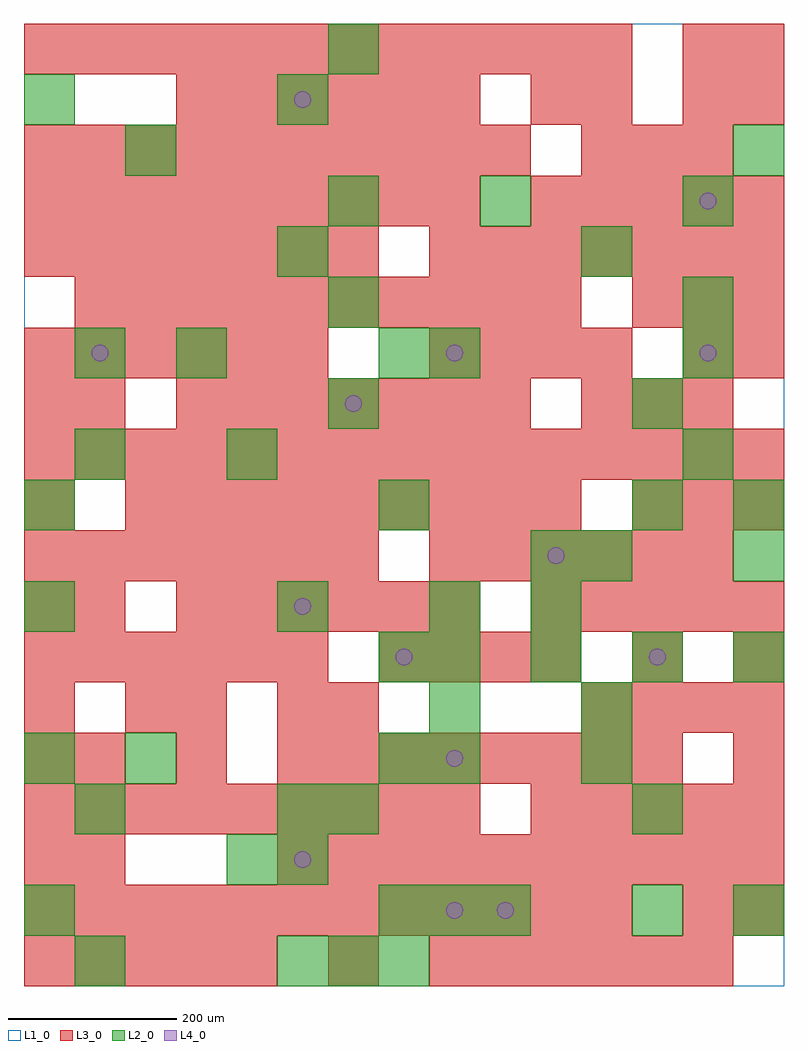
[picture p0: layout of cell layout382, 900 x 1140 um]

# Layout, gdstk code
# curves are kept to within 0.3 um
import gdstk
lib = gdstk.Library(unit=1e-6, precision=1e-09)
def R(c, l, rs):  # rectangles x0, y0, x1, y1
    for r in rs: c.add(gdstk.rectangle(r[:2], r[2:], *l))
def A(c, l, x, y, w, h, nx, ny, dx, dy):  # array of equal rectangles
    R(c, l, [(x+i*dx, y+j*dy, x+i*dx+w, y+j*dy+h) for i in range(nx) for j in range(ny)])
def P(c, l, *ps):  # polygons
    for p in ps: c.add(gdstk.Polygon(p, *l))
L1_0 = (1, 0)
L2_0 = (2, 0)
L3_0 = (3, 0)
L4_0 = (4, 0)

layout382 = lib.new_cell('layout382')
R(layout382, L1_0, [(0,0,900,1140)])
A(layout382, L2_0, 300, 0, 60, 60, 3, 1, 60, 0)
A(layout382, L2_0, 0, 60, 60, 60, 1, 3, 0, 180)
A(layout382, L2_0, 420, 60, 60, 60, 3, 1, 60, 0)
A(layout382, L2_0, 420, 360, 60, 60, 1, 3, 0, 180)
A(layout382, L2_0, 480, 360, 60, 60, 4, 1, 120, 0)
A(layout382, L2_0, 360, 660, 60, 60, 1, 3, 0, 120)
R(layout382, L2_0, [(60,0,120,60), (720,60,780,120), (840,60,900,120), (240,120,300,180), (300,120,360,180), (60,180,120,240), (300,180,360,240), (360,180,420,240), (720,180,780,240), (120,240,180,300), (420,240,480,300), (480,240,540,300), (660,240,720,300), (480,300,540,360), (660,300,720,360), (300,420,360,480), (480,420,540,480), (600,420,660,480), (600,480,660,540), (660,480,720,540), (840,480,900,540), (0,540,60,600), (720,540,780,600), (840,540,900,600), (60,600,120,660), (240,600,300,660), (780,600,840,660), (720,660,780,720), (60,720,120,780), (180,720,240,780), (480,720,540,780), (780,720,840,780), (780,780,840,840), (300,840,360,900), (660,840,720,900), (540,900,600,960), (780,900,840,960), (120,960,180,1020), (840,960,900,1020), (0,1020,60,1080), (300,1020,360,1080), (360,1080,420,1140)])
A(layout382, L3_0, 0, 0, 60, 60, 5, 1, 60, 0)
A(layout382, L3_0, 480, 0, 60, 60, 6, 2, 60, 480)
A(layout382, L3_0, 0, 60, 60, 60, 12, 2, 60, 1020)
A(layout382, L3_0, 300, 120, 60, 60, 10, 1, 60, 0)
A(layout382, L3_0, 0, 180, 60, 60, 9, 2, 60, 720)
A(layout382, L3_0, 600, 180, 60, 60, 5, 2, 60, 240)
A(layout382, L3_0, 60, 240, 60, 60, 3, 1, 120, 0)
A(layout382, L3_0, 360, 240, 60, 60, 7, 1, 60, 0)
A(layout382, L3_0, 0, 300, 60, 60, 1, 4, 0, 120)
A(layout382, L3_0, 660, 300, 60, 60, 4, 1, 60, 0)
A(layout382, L3_0, 0, 360, 60, 60, 6, 2, 60, 360)
A(layout382, L3_0, 420, 360, 60, 60, 4, 1, 60, 0)
A(layout382, L3_0, 180, 420, 60, 60, 6, 2, 60, 600)
A(layout382, L3_0, 0, 480, 60, 60, 7, 2, 60, 360)
A(layout382, L3_0, 120, 540, 60, 60, 9, 1, 60, 0)
A(layout382, L3_0, 720, 540, 60, 60, 3, 2, 60, 240)
A(layout382, L3_0, 0, 600, 60, 60, 15, 1, 60, 0)
A(layout382, L3_0, 180, 660, 60, 60, 7, 1, 60, 0)
A(layout382, L3_0, 660, 660, 60, 60, 3, 2, 60, 300)
A(layout382, L3_0, 480, 720, 60, 60, 4, 1, 60, 0)
A(layout382, L3_0, 60, 780, 60, 60, 10, 1, 60, 0)
A(layout382, L3_0, 480, 840, 60, 60, 7, 1, 60, 0)
A(layout382, L3_0, 600, 900, 60, 60, 5, 1, 60, 0)
A(layout382, L3_0, 0, 960, 60, 60, 10, 1, 60, 0)
R(layout382, L3_0, [(360,0,420,60), (780,60,840,120), (840,60,900,120), (0,120,60,180), (60,120,120,180), (0,240,60,300), (840,240,900,300), (120,300,180,360), (180,300,240,360), (300,300,360,360), (360,300,420,360), (720,360,780,420), (840,360,900,420), (60,420,120,480), (60,660,120,720), (780,720,840,780), (840,720,900,780), (600,1020,660,1080), (660,1020,720,1080), (780,1020,840,1080), (840,1020,900,1080), (780,1080,840,1140), (840,1080,900,1140)])
P(layout382, L4_0, [(100,750),(99.239,753.827),(97.071,757.071),(93.827,759.239),(90,760),(86.173,759.239),(82.929,757.071),(80.761,753.827),(80,750),(80.761,746.173),(82.929,742.929),(86.173,740.761),(90,740),(93.827,740.761),(97.071,742.929),(99.239,746.173)],
  [(340,150),(339.239,153.827),(337.071,157.071),(333.827,159.239),(330,160),(326.173,159.239),(322.929,157.071),(320.761,153.827),(320,150),(320.761,146.173),(322.929,142.929),(326.173,140.761),(330,140),(333.827,140.761),(337.071,142.929),(339.239,146.173)],
  [(340,450),(339.239,453.827),(337.071,457.071),(333.827,459.239),(330,460),(326.173,459.239),(322.929,457.071),(320.761,453.827),(320,450),(320.761,446.173),(322.929,442.929),(326.173,440.761),(330,440),(333.827,440.761),(337.071,442.929),(339.239,446.173)],
  [(340,1050),(339.239,1053.827),(337.071,1057.071),(333.827,1059.239),(330,1060),(326.173,1059.239),(322.929,1057.071),(320.761,1053.827),(320,1050),(320.761,1046.173),(322.929,1042.929),(326.173,1040.761),(330,1040),(333.827,1040.761),(337.071,1042.929),(339.239,1046.173)],
  [(400,690),(399.239,693.827),(397.071,697.071),(393.827,699.239),(390,700),(386.173,699.239),(382.929,697.071),(380.761,693.827),(380,690),(380.761,686.173),(382.929,682.929),(386.173,680.761),(390,680),(393.827,680.761),(397.071,682.929),(399.239,686.173)],
  [(460,390),(459.239,393.827),(457.071,397.071),(453.827,399.239),(450,400),(446.173,399.239),(442.929,397.071),(440.761,393.827),(440,390),(440.761,386.173),(442.929,382.929),(446.173,380.761),(450,380),(453.827,380.761),(457.071,382.929),(459.239,386.173)],
  [(520,90),(519.239,93.827),(517.071,97.071),(513.827,99.239),(510,100),(506.173,99.239),(502.929,97.071),(500.761,93.827),(500,90),(500.761,86.173),(502.929,82.929),(506.173,80.761),(510,80),(513.827,80.761),(517.071,82.929),(519.239,86.173)],
  [(520,270),(519.239,273.827),(517.071,277.071),(513.827,279.239),(510,280),(506.173,279.239),(502.929,277.071),(500.761,273.827),(500,270),(500.761,266.173),(502.929,262.929),(506.173,260.761),(510,260),(513.827,260.761),(517.071,262.929),(519.239,266.173)],
  [(520,750),(519.239,753.827),(517.071,757.071),(513.827,759.239),(510,760),(506.173,759.239),(502.929,757.071),(500.761,753.827),(500,750),(500.761,746.173),(502.929,742.929),(506.173,740.761),(510,740),(513.827,740.761),(517.071,742.929),(519.239,746.173)],
  [(580,90),(579.239,93.827),(577.071,97.071),(573.827,99.239),(570,100),(566.173,99.239),(562.929,97.071),(560.761,93.827),(560,90),(560.761,86.173),(562.929,82.929),(566.173,80.761),(570,80),(573.827,80.761),(577.071,82.929),(579.239,86.173)],
  [(640,510),(639.239,513.827),(637.071,517.071),(633.827,519.239),(630,520),(626.173,519.239),(622.929,517.071),(620.761,513.827),(620,510),(620.761,506.173),(622.929,502.929),(626.173,500.761),(630,500),(633.827,500.761),(637.071,502.929),(639.239,506.173)],
  [(760,390),(759.239,393.827),(757.071,397.071),(753.827,399.239),(750,400),(746.173,399.239),(742.929,397.071),(740.761,393.827),(740,390),(740.761,386.173),(742.929,382.929),(746.173,380.761),(750,380),(753.827,380.761),(757.071,382.929),(759.239,386.173)],
  [(820,750),(819.239,753.827),(817.071,757.071),(813.827,759.239),(810,760),(806.173,759.239),(802.929,757.071),(800.761,753.827),(800,750),(800.761,746.173),(802.929,742.929),(806.173,740.761),(810,740),(813.827,740.761),(817.071,742.929),(819.239,746.173)],
  [(820,930),(819.239,933.827),(817.071,937.071),(813.827,939.239),(810,940),(806.173,939.239),(802.929,937.071),(800.761,933.827),(800,930),(800.761,926.173),(802.929,922.929),(806.173,920.761),(810,920),(813.827,920.761),(817.071,922.929),(819.239,926.173)])

lib.write_gds('layout382.gds')
